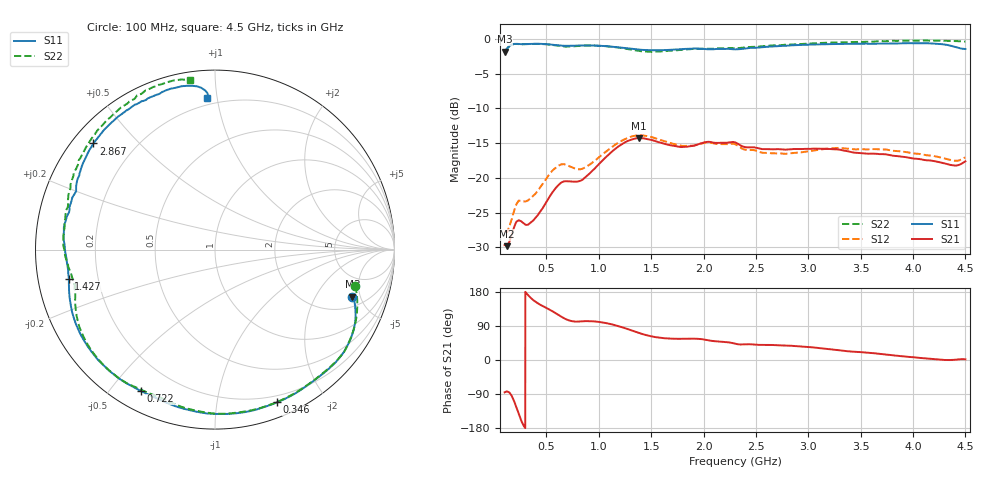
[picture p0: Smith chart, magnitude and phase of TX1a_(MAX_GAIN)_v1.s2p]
! Created Tue Apr 16 20:08:20 2013
# ghz S ma R 50
! 2 Port Network Data from SP1.SP block
! freq  magS11  angS11  magS21  angS21  magS12  angS12  magS22  angS22
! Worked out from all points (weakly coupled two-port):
!   4401 points, 100 MHz to 4.5 GHz, reference 50 ohm
!   highest |S21| = -14.28 dB at 1.38 GHz (marker M1); lowest = -29.8 dB at 122 MHz (marker M2)
!   lowest |S11| = -1.8 dB at 100 MHz (marker M3), VSWR 9.49, Z = 139 - j212 ohm
!   |S11| at or under -10 dB: nowhere
!   |S22| runs from -1.9 to -0.2 dB; largest |S21 - S12| = 0.035
!   S11 on the Smith chart (normalised r, x): 100 MHz: 2.78, -4.24; 346 MHz: 0.14, -1.48; 722 MHz: 0.08, -0.60; 1.427 GHz: 0.09, -0.10; 2.867 GHz: 0.06, +0.37; 4.5 GHz: 0.16, +0.93
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0.1  0.8094 -18.9  0.03289 -85.3  0.04054 -91.3  0.8045 -14.7
0.122  0.8506 -23.2  0.03231 -82.8  0.04069 -91.2  0.8431 -20.0
0.2  0.9186 -40.8  0.04617 -115.6  0.06095 -121.5  0.918 -40.3
0.238  0.9165 -48.7  0.04947 -145.1  0.06859 -145.5  0.9143 -48.1
0.346  0.9187 -67.8  0.0477 164.7  0.07124 173.5  0.9167 -67.1
0.496  0.9147 -91.4  0.0667 137.8  0.09823 144.2  0.9137 -89.8
0.623  0.8951 -107.5  0.0902 117.5  0.1233 118.8  0.8879 -105.0
0.722  0.8895 -117.6  0.09424 103.9  0.1209 102.7  0.8801 -114.2
0.834  0.8947 -128.2  0.09608 102.0  0.1158 99.3  0.8926 -124.2
1.086  0.8828 -149.3  0.1451 96.5  0.1581 93.6  0.8817 -145.0
1.38  0.8365 -166.7  0.1932 71.7  0.2028 70.2  0.8174 -162.2
1.427  0.8307 -168.8  0.1924 67.5  0.2017 66.1  0.812 -164.0
1.567  0.8267 -174.2  0.1809 59.3  0.1894 57.4  0.8103 -168.5
1.911  0.8511 171.6  0.1706 56.3  0.171 53.7  0.846 178.3
2.3  0.8391 157.4  0.1802 43.1  0.175 41.7  0.8538 163.9
2.561  0.869 149.7  0.1611 40.0  0.1518 39.8  0.884 155.4
2.867  0.899 138.9  0.1613 36.9  0.1511 40.7  0.9121 143.5
3.034  0.909 133.0  0.1621 33.6  0.1566 39.3  0.9256 137.5
3.767  0.9221 110.8  0.1464 13.2  0.1588 16.4  0.964 114.2
4.218  0.9219 98.1  0.1314 1.7  0.1427 2.5  0.9705 104.0
4.396  0.8759 92.9  0.1228 0.6  0.1329 0.4  0.9623 100.2
4.5  0.8443 93.2  0.1316 1.7  0.1405 1.1  0.9534 98.5
